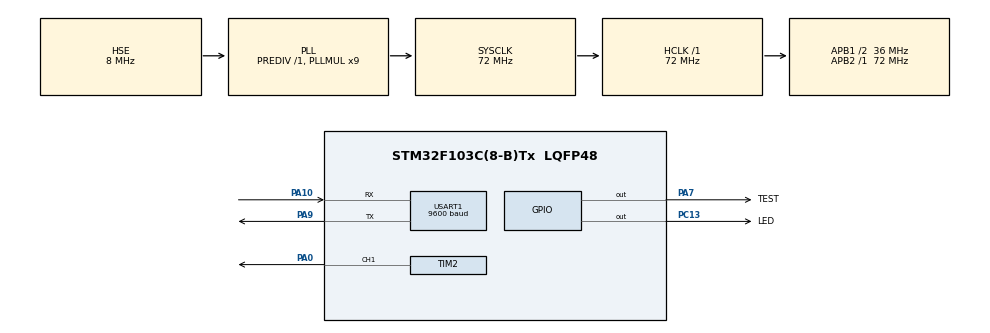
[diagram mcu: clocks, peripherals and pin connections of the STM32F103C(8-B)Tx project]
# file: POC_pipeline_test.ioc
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Mcu.Family=STM32F1
Mcu.Name=STM32F103C(8-B)Tx
Mcu.Package=LQFP48
NVIC.PriorityGroup=NVIC_PRIORITYGROUP_4
NVIC.USART1_IRQn=true\:0\:0\:false\:false\:true\:true\:true\:true
PA0-WKUP.Signal=S_TIM2_CH1_ETR
PA10.Mode=Asynchronous
PA10.Signal=USART1_RX
PA7.GPIO_Label=TEST
PA7.Signal=GPIO_Output
PA9.Mode=Asynchronous
PA9.Signal=USART1_TX
PC13-TAMPER-RTC.GPIO_Label=LED
PC13-TAMPER-RTC.Signal=GPIO_Output
PD0-OSC_IN.Mode=HSE-External-Oscillator
PD0-OSC_IN.Signal=RCC_OSC_IN
PD1-OSC_OUT.Mode=HSE-External-Oscillator
PD1-OSC_OUT.Signal=RCC_OSC_OUT
ProjectManager.HeapSize=0x200
ProjectManager.StackSize=0x400
ProjectManager.TargetToolchain=STM32CubeIDE
RCC.AHBFreq_Value=72000000
RCC.APB1CLKDivider=RCC_HCLK_DIV2
RCC.APB1Freq_Value=36000000
RCC.APB1TimFreq_Value=72000000
RCC.APB2Freq_Value=72000000
RCC.APB2TimFreq_Value=72000000
RCC.HCLKFreq_Value=72000000
RCC.PLLMUL=RCC_PLL_MUL9
RCC.PLLSourceVirtual=RCC_PLLSOURCE_HSE
RCC.SYSCLKFreq_VALUE=72000000
RCC.SYSCLKSource=RCC_SYSCLKSOURCE_PLLCLK
RCC.USBFreq_Value=72000000
SH.S_TIM2_CH1_ETR.0=TIM2_CH1,PWM Generation1 CH1
TIM2.Channel-PWM\ Generation1\ CH1=TIM_CHANNEL_1
TIM2.Period=19999
TIM2.Prescaler=71
USART1.BaudRate=9600
USART1.VirtualMode=VM_ASYNC
VP_SYS_VS_ND.Mode=No_Debug
board=custom

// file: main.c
/* USER CODE BEGIN Header */
/**
  ******************************************************************************
  * @file           : main.c
  * @brief          : Main program body
  ******************************************************************************
  * @attention
  *
  * Copyright (c) 2026 STMicroelectronics.
  * All rights reserved.
  *
  * This software is licensed under terms that can be found in the LICENSE file
  * in the root directory of this software component.
  * If no LICENSE file comes with this software, it is provided AS-IS.
  *
  ******************************************************************************
  */
/* USER CODE END Header */
#include "main.h"

/* USER CODE BEGIN Includes */
#include <string.h>
#include <stdlib.h>
/* USER CODE END Includes */

TIM_HandleTypeDef htim2;

UART_HandleTypeDef huart1;

/* USER CODE BEGIN PV */
uint8_t rx_char;
char rx_buffer[50];
uint8_t rx_index = 0;
int angles[4];
/* USER CODE END PV */

void SystemClock_Config(void);
static void MX_GPIO_Init(void);
static void MX_TIM2_Init(void);
static void MX_USART1_UART_Init(void);
/* USER CODE BEGIN PFP */
void parse_angles(char *data);
void set_servo_angle(uint8_t angle);
/* USER CODE END PFP */

/* USER CODE BEGIN 0 */
void set_servo_angle(uint8_t angle)
{

    uint16_t pulse = 500 + ((angle * 2000) / 180);
    __HAL_TIM_SET_COMPARE(&htim2, TIM_CHANNEL_1, pulse);
}

void parse_angles(char *data)
{
    char *token = strtok(data, ",");
    int i = 0;

    while (token != NULL && i < 4)
    {
    	float value = strtof(token, NULL);       // convert string to float
        angles[i] = (int)(value * 180.0f); // scale to 0–180
//        if (angles[i] < 0) angles[i] = 0;
//        if (angles[i] > 180) angles[i] = 180;
        token = strtok(NULL, ",");
        i++;
    }

    set_servo_angle(angles[0]);   // first servo on TIM2
    HAL_GPIO_TogglePin(TEST_GPIO_Port, TEST_Pin);

    //HAL_GPIO_TogglePin(LED_GPIO_Port, LED_Pin);
}
/* USER CODE END 0 */

int main(void)
{

  /* MCU Configuration--------------------------------------------------------*/

  /* Reset of all peripherals, Initializes the Flash interface and the Systick. */
  HAL_Init();

  /* Configure the system clock */
  SystemClock_Config();

  /* Initialize all configured peripherals */
  MX_GPIO_Init();
  MX_TIM2_Init();
  MX_USART1_UART_Init();
  /* USER CODE BEGIN 2 */
  //HAL_UART_Receive_IT(&huart1, (uint8_t*)rx_buffer, 50);
  HAL_TIM_PWM_Start(&htim2, TIM_CHANNEL_1);
  //HAL_UART_Receive_IT(&huart1, (uint8_t*)rx_buffer, 50);
  HAL_UART_Receive_IT(&huart1, &rx_char, 1);
  /* USER CODE END 2 */

  /* Infinite loop */
  /* USER CODE BEGIN WHILE */
  while (1)
  {
	  //	char *msg = "BUDU\n";
	  //	HAL_UART_Transmit(&huart1, (uint8_t*)msg, strlen(msg), HAL_MAX_DELAY);

	  //	HAL_GPIO_TogglePin(LED_GPIO_Port, LED_Pin);

	  //	set_servo_angle(0);
	  //	HAL_Delay(1000);
	  //
	  //	set_servo_angle(90);
	  //	HAL_Delay(1000);
	  //
	  //	set_servo_angle(180);
	  //	HAL_Delay(1000);
    /* USER CODE END WHILE */

  }
}

void SystemClock_Config(void)
{
  RCC_OscInitTypeDef RCC_OscInitStruct = {0};
  RCC_ClkInitTypeDef RCC_ClkInitStruct = {0};

  /** Initializes the RCC Oscillators according to the specified parameters
  * in the RCC_OscInitTypeDef structure.
  */
  RCC_OscInitStruct.OscillatorType = RCC_OSCILLATORTYPE_HSE;
  RCC_OscInitStruct.HSEState = RCC_HSE_ON;
  RCC_OscInitStruct.HSEPredivValue = RCC_HSE_PREDIV_DIV1;
  RCC_OscInitStruct.HSIState = RCC_HSI_ON;
  RCC_OscInitStruct.PLL.PLLState = RCC_PLL_ON;
  RCC_OscInitStruct.PLL.PLLSource = RCC_PLLSOURCE_HSE;
  RCC_OscInitStruct.PLL.PLLMUL = RCC_PLL_MUL9;
  if (HAL_RCC_OscConfig(&RCC_OscInitStruct) != HAL_OK)
  {
    Error_Handler();
  }

  /** Initializes the CPU, AHB and APB buses clocks
  */
  RCC_ClkInitStruct.ClockType = RCC_CLOCKTYPE_HCLK|RCC_CLOCKTYPE_SYSCLK
                              |RCC_CLOCKTYPE_PCLK1|RCC_CLOCKTYPE_PCLK2;
  RCC_ClkInitStruct.SYSCLKSource = RCC_SYSCLKSOURCE_PLLCLK;
  RCC_ClkInitStruct.AHBCLKDivider = RCC_SYSCLK_DIV1;
  RCC_ClkInitStruct.APB1CLKDivider = RCC_HCLK_DIV2;
  RCC_ClkInitStruct.APB2CLKDivider = RCC_HCLK_DIV1;

  if (HAL_RCC_ClockConfig(&RCC_ClkInitStruct, FLASH_LATENCY_2) != HAL_OK)
  {
    Error_Handler();
  }
}

static void MX_TIM2_Init(void)
{

  TIM_MasterConfigTypeDef sMasterConfig = {0};
  TIM_OC_InitTypeDef sConfigOC = {0};

  htim2.Instance = TIM2;
  htim2.Init.Prescaler = 71;
  htim2.Init.CounterMode = TIM_COUNTERMODE_UP;
  htim2.Init.Period = 19999;
  htim2.Init.ClockDivision = TIM_CLOCKDIVISION_DIV1;
  htim2.Init.AutoReloadPreload = TIM_AUTORELOAD_PRELOAD_DISABLE;
  if (HAL_TIM_PWM_Init(&htim2) != HAL_OK)
  {
    Error_Handler();
  }
  sMasterConfig.MasterOutputTrigger = TIM_TRGO_RESET;
  sMasterConfig.MasterSlaveMode = TIM_MASTERSLAVEMODE_DISABLE;
  if (HAL_TIMEx_MasterConfigSynchronization(&htim2, &sMasterConfig) != HAL_OK)
  {
    Error_Handler();
  }
  sConfigOC.OCMode = TIM_OCMODE_PWM1;
  sConfigOC.Pulse = 0;
  sConfigOC.OCPolarity = TIM_OCPOLARITY_HIGH;
  sConfigOC.OCFastMode = TIM_OCFAST_DISABLE;
  if (HAL_TIM_PWM_ConfigChannel(&htim2, &sConfigOC, TIM_CHANNEL_1) != HAL_OK)
  {
    Error_Handler();
  }
  HAL_TIM_MspPostInit(&htim2);

}

static void MX_USART1_UART_Init(void)
{

  huart1.Instance = USART1;
  huart1.Init.BaudRate = 9600;
  huart1.Init.WordLength = UART_WORDLENGTH_8B;
  huart1.Init.StopBits = UART_STOPBITS_1;
  huart1.Init.Parity = UART_PARITY_NONE;
  huart1.Init.Mode = UART_MODE_TX_RX;
  huart1.Init.HwFlowCtl = UART_HWCONTROL_NONE;
  huart1.Init.OverSampling = UART_OVERSAMPLING_16;
  if (HAL_UART_Init(&huart1) != HAL_OK)
  {
    Error_Handler();
  }

}

static void MX_GPIO_Init(void)
{
  GPIO_InitTypeDef GPIO_InitStruct = {0};

  /* GPIO Ports Clock Enable */
  __HAL_RCC_GPIOC_CLK_ENABLE();
  __HAL_RCC_GPIOD_CLK_ENABLE();
  __HAL_RCC_GPIOA_CLK_ENABLE();

  /*Configure GPIO pin Output Level */
  HAL_GPIO_WritePin(LED_GPIO_Port, LED_Pin, GPIO_PIN_RESET);

  /*Configure GPIO pin Output Level */
  HAL_GPIO_WritePin(TEST_GPIO_Port, TEST_Pin, GPIO_PIN_RESET);

  /*Configure GPIO pin : LED_Pin */
  GPIO_InitStruct.Pin = LED_Pin;
  GPIO_InitStruct.Mode = GPIO_MODE_OUTPUT_PP;
  GPIO_InitStruct.Pull = GPIO_NOPULL;
  GPIO_InitStruct.Speed = GPIO_SPEED_FREQ_LOW;
  HAL_GPIO_Init(LED_GPIO_Port, &GPIO_InitStruct);

  /*Configure GPIO pin : TEST_Pin */
  GPIO_InitStruct.Pin = TEST_Pin;
  GPIO_InitStruct.Mode = GPIO_MODE_OUTPUT_PP;
  GPIO_InitStruct.Pull = GPIO_NOPULL;
  GPIO_InitStruct.Speed = GPIO_SPEED_FREQ_LOW;
  HAL_GPIO_Init(TEST_GPIO_Port, &GPIO_InitStruct);

}

/* USER CODE BEGIN 4 */
void HAL_UART_RxCpltCallback(UART_HandleTypeDef *huart)
{
//    	HAL_GPIO_TogglePin(LED_GPIO_Port, LED_Pin);
//    	parse_angles(rx_buffer);
//    	HAL_UART_Receive_IT(&huart1, (uint8_t*)rx_buffer, 50);

//    	if (huart->Instance == USART1)
//    	    {
    	        if (rx_char == '\n')
    	        {
    	            rx_buffer[rx_index] = '\0';
    	            rx_index = 0;

    	            //set_servo_angle(180);
    	            parse_angles(rx_buffer);

    	            HAL_GPIO_TogglePin(LED_GPIO_Port, LED_Pin);
    	        }
    	        else
    	        {
    	            if (rx_index < sizeof(rx_buffer) - 1)
    	                rx_buffer[rx_index++] = rx_char;
    	        }

    	        HAL_UART_Receive_IT(&huart1, &rx_char, 1);
//    	    }
}

/* USER CODE END 4 */

void Error_Handler(void)
{
  __disable_irq();
  while (1)
  {
  }
}
